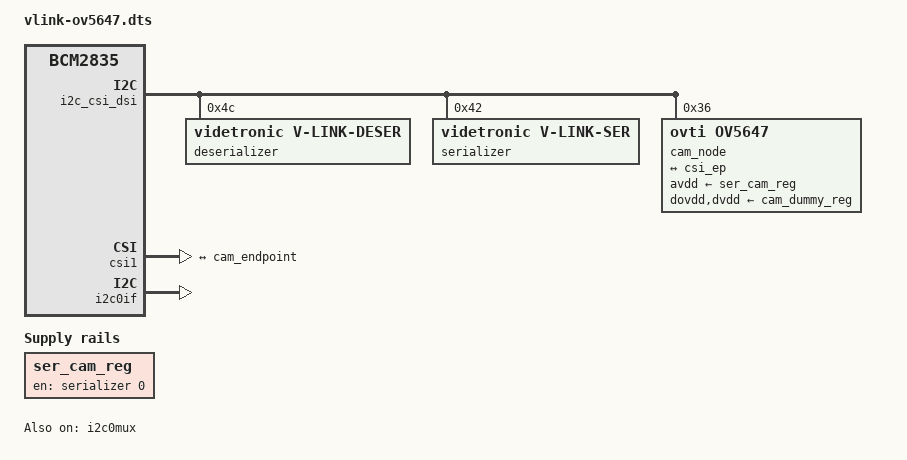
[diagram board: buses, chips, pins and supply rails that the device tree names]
// SPDX-License-Identifier: GPL-2.0-only
// Definitions for OV5647 camera module over v-link utilizing 4 mipi-csi lanes on deserializer.
/dts-v1/;
/plugin/;

/{
	compatible = "brcm,bcm2835";

	fragment@6 {
		target = <&soc>;
		__overlay__ {
			ser_cam_reg: ser_cam_reg {
				compatible = "regulator-fixed";
				regulator-name = "ser-cam-reg";
				enable-active-high;
				gpio = <&serializer 0 0>; 
				startup-delay = <100000>; /* 100 ms in microseconds */
			};
		};
	};

	i2c_frag: fragment@0 {
		target = <&i2c_csi_dsi>;
		__overlay__ {
			#address-cells = <1>;
			#size-cells = <0>;
			status = "okay";
			
			deserializer: vlink-deser@4C {
				status = "okay";
				compatible = "videtronic,v-link-deser";
				reg = <0x4C>;
				data-lanes = <1 2>;
				link-frequency = /bits/ 64 <500000000>;
			};
				
			serializer: vlink-ser@42 {
				status = "okay";
				compatible = "videtronic,v-link-ser";
				reg = <0x42>;
				gpio-controller;
				#gpio-cells = <2>;
				data-lanes = <1 2>;
			};

			cam_node: ov5647@36 {
				compatible = "ovti,ov5647";
				reg = <0x36>;
				status = "okay";
				
				clocks = <&cam1_clk>;
				
				avdd-supply = <&ser_cam_reg>;
				dovdd-supply = <&cam_dummy_reg>;
				dvdd-supply = <&cam_dummy_reg>;
				
				rotation = <0>;
				orientation = <2>;
				
				port {
					cam_endpoint: endpoint {
						clock-lanes = <0>;
						data-lanes = <1 2>;
						clock-noncontinuous;
						link-frequencies =
						/bits/ 64 <297000000>;
					};
				};
			};

			vcm_node: ad5398@c {
				compatible = "adi,ad5398";
				reg = <0x0c>;
				status = "disabled";
				VANA-supply = <&cam1_reg>;
			};
		};
	};
	
	csi_frag: fragment@1 {
		target = <&csi1>;
		csi: __overlay__ {
			status = "okay";
			brcm,media-controller;
			
			port {
				csi_ep: endpoint {
					remote-endpoint = <&cam_endpoint>;
					data-lanes = <1 2>;
					clock-noncontinuous;
				};
			};
		};
	};
	
	fragment@2 {
		target = <&i2c0if>;
		__overlay__ {
			status = "okay";
		};
	};
	
	fragment@3 {
		target = <&i2c0mux>;
		__overlay__ {
			status = "okay";
		};
	};
	
	reg_frag: fragment@4 {
		target = <&cam1_reg>;
		__overlay__ {
			startup-delay-us = <20000>;
		};
	};
	
	clk_frag: fragment@5 {
		target = <&cam1_clk>;
		__overlay__ {
			status = "okay";
			clock-frequency = <25000000>;
		};
	};
	
	__overrides__ {
		rotation = <&cam_node>,"rotation:0";
		orientation = <&cam_node>,"orientation:0";
		media-controller = <&csi>,"brcm,media-controller?";
		cam0 = <&i2c_frag>, "target:0=",<&i2c_csi_dsi0>,
		<&csi_frag>, "target:0=",<&csi0>,
		<&reg_frag>, "target:0=",<&cam0_reg>,
		<&clk_frag>, "target:0=",<&cam0_clk>,
		<&cam_node>, "clocks:0=",<&cam0_clk>,
		<&cam_node>, "avdd-supply:0=",<&cam0_reg>,
		<&vcm_node>, "VANA-supply:0=",<&cam0_reg>;
		vcm = <&vcm_node>, "status=okay",
		<&cam_node>,"lens-focus:0=", <&vcm_node>;
	};
};

&cam_node {
	status = "okay";
};

&cam_endpoint {
	remote-endpoint = <&csi_ep>;
};
